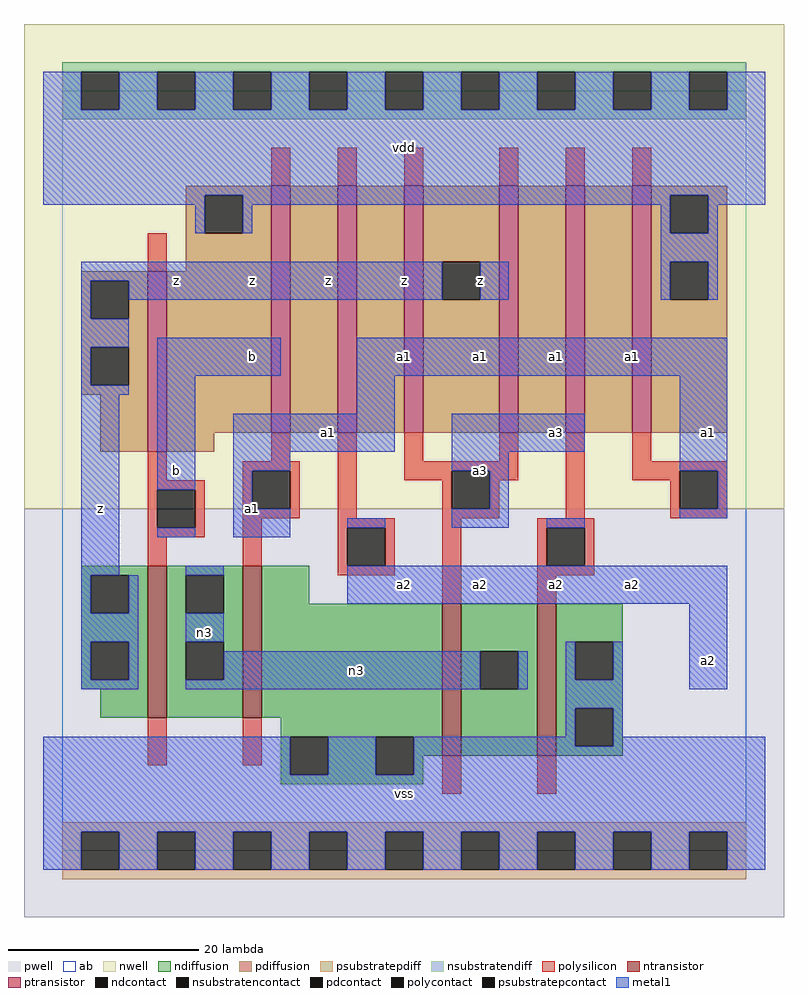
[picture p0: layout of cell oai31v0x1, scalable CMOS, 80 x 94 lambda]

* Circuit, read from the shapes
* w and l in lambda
.subckt oai31v0x1 a1 a2 a3 b n3 vdd vss z
M1 n3 b z vss nfet w=16 l=2
M2 vss a1 n3 vss nfet w=16 l=2
M3 n3 a3 vss vss nfet w=16 l=2
M4 vss a2 n3 vss nfet w=16 l=2
M5 vdd b z vdd pfet w=19 l=2
M6 n1 a1 vdd vdd pfet w=26 l=2
M7 n2 a2 n1 vdd pfet w=26 l=2
M8 z a3 n2 vdd pfet w=26 l=2
M9 n4 a3 z vdd pfet w=26 l=2
M10 n5 a2 n4 vdd pfet w=26 l=2
M11 vdd a1 n5 vdd pfet w=26 l=2
.ends

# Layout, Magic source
magic
tech scmos
<< ab >>
rect 0 0 72 80
<< pwell >>
rect -4 -7 76 36
<< nwell >>
rect -4 36 76 87
<< polysilicon >>
rect 22 70 24 74
rect 29 70 31 74
rect 36 70 38 74
rect 46 70 48 74
rect 53 70 55 74
rect 60 70 62 74
rect 9 61 11 65
rect 9 39 11 42
rect 22 41 24 44
rect 19 40 25 41
rect 9 38 15 39
rect 9 34 10 38
rect 14 34 15 38
rect 9 33 15 34
rect 19 36 20 40
rect 24 36 25 40
rect 19 35 25 36
rect 29 35 31 44
rect 36 41 38 44
rect 46 41 48 44
rect 36 40 48 41
rect 36 39 41 40
rect 40 36 41 39
rect 45 39 48 40
rect 45 36 46 39
rect 40 35 46 36
rect 53 35 55 44
rect 60 41 62 44
rect 60 40 70 41
rect 60 39 65 40
rect 64 36 65 39
rect 69 36 70 40
rect 64 35 70 36
rect 9 30 11 33
rect 19 30 21 35
rect 29 34 35 35
rect 29 30 30 34
rect 34 30 35 34
rect 29 29 35 30
rect 40 26 42 35
rect 50 34 56 35
rect 50 30 51 34
rect 55 30 56 34
rect 50 29 56 30
rect 50 26 52 29
rect 9 9 11 14
rect 19 9 21 14
rect 40 6 42 10
rect 50 6 52 10
<< ndiffusion >>
rect 2 29 9 30
rect 2 25 3 29
rect 7 25 9 29
rect 2 22 9 25
rect 2 18 3 22
rect 7 18 9 22
rect 2 17 9 18
rect 4 14 9 17
rect 11 29 19 30
rect 11 25 13 29
rect 17 25 19 29
rect 11 22 19 25
rect 11 18 13 22
rect 17 18 19 22
rect 11 14 19 18
rect 21 26 26 30
rect 21 14 40 26
rect 23 12 40 14
rect 23 8 24 12
rect 28 8 33 12
rect 37 10 40 12
rect 42 21 50 26
rect 42 17 44 21
rect 48 17 50 21
rect 42 10 50 17
rect 52 22 59 26
rect 52 18 54 22
rect 58 18 59 22
rect 52 15 59 18
rect 52 11 54 15
rect 58 11 59 15
rect 52 10 59 11
rect 37 8 38 10
rect 23 7 38 8
<< pdiffusion >>
rect 13 69 22 70
rect 13 65 15 69
rect 19 65 22 69
rect 13 61 22 65
rect 2 60 9 61
rect 2 56 3 60
rect 7 56 9 60
rect 2 53 9 56
rect 2 49 3 53
rect 7 49 9 53
rect 2 48 9 49
rect 4 42 9 48
rect 11 44 22 61
rect 24 44 29 70
rect 31 44 36 70
rect 38 62 46 70
rect 38 58 40 62
rect 44 58 46 62
rect 38 44 46 58
rect 48 44 53 70
rect 55 44 60 70
rect 62 69 70 70
rect 62 65 64 69
rect 68 65 70 69
rect 62 62 70 65
rect 62 58 64 62
rect 68 58 70 62
rect 62 44 70 58
rect 11 42 16 44
<< metal1 >>
rect -2 78 2 82
rect 6 78 10 82
rect 14 78 18 82
rect 22 78 26 82
rect 30 78 34 82
rect 38 78 42 82
rect 46 78 50 82
rect 54 78 58 82
rect 62 78 66 82
rect 70 78 74 82
rect -2 69 74 78
rect -2 68 15 69
rect 14 65 15 68
rect 19 68 64 69
rect 19 65 20 68
rect 63 65 64 68
rect 68 68 74 69
rect 68 65 69 68
rect 63 62 69 65
rect 2 60 40 62
rect 2 56 3 60
rect 7 58 40 60
rect 44 58 47 62
rect 63 58 64 62
rect 68 58 69 62
rect 2 53 7 56
rect 2 49 3 53
rect 2 48 7 49
rect 10 50 23 54
rect 31 50 70 54
rect 2 29 6 48
rect 10 38 14 50
rect 31 46 35 50
rect 10 33 14 34
rect 18 42 35 46
rect 41 42 55 46
rect 18 40 24 42
rect 18 36 20 40
rect 18 33 24 36
rect 41 40 47 42
rect 45 36 47 40
rect 30 34 34 35
rect 41 34 47 36
rect 65 40 70 50
rect 69 36 70 40
rect 65 35 70 36
rect 51 34 55 35
rect 13 29 17 30
rect 2 25 3 29
rect 7 25 8 29
rect 2 22 8 25
rect 2 18 3 22
rect 7 18 8 22
rect 2 17 8 18
rect 30 26 70 30
rect 13 22 17 25
rect 17 18 44 21
rect 13 17 44 18
rect 48 17 49 21
rect 53 18 54 22
rect 58 18 59 22
rect 53 15 59 18
rect 66 17 70 26
rect 53 12 54 15
rect -2 8 24 12
rect 28 8 33 12
rect 37 11 54 12
rect 58 12 59 15
rect 58 11 74 12
rect 37 8 74 11
rect -2 2 74 8
rect -2 -2 2 2
rect 6 -2 10 2
rect 14 -2 18 2
rect 22 -2 26 2
rect 30 -2 34 2
rect 38 -2 42 2
rect 46 -2 50 2
rect 54 -2 58 2
rect 62 -2 66 2
rect 70 -2 74 2
<< ntransistor >>
rect 9 14 11 30
rect 19 14 21 30
rect 40 10 42 26
rect 50 10 52 26
<< ptransistor >>
rect 9 42 11 61
rect 22 44 24 70
rect 29 44 31 70
rect 36 44 38 70
rect 46 44 48 70
rect 53 44 55 70
rect 60 44 62 70
<< polycontact >>
rect 10 34 14 38
rect 20 36 24 40
rect 41 36 45 40
rect 65 36 69 40
rect 30 30 34 34
rect 51 30 55 34
<< ndcontact >>
rect 3 25 7 29
rect 3 18 7 22
rect 13 25 17 29
rect 13 18 17 22
rect 24 8 28 12
rect 33 8 37 12
rect 44 17 48 21
rect 54 18 58 22
rect 54 11 58 15
<< pdcontact >>
rect 15 65 19 69
rect 3 56 7 60
rect 3 49 7 53
rect 40 58 44 62
rect 64 65 68 69
rect 64 58 68 62
<< psubstratepcontact >>
rect 2 -2 6 2
rect 10 -2 14 2
rect 18 -2 22 2
rect 26 -2 30 2
rect 34 -2 38 2
rect 42 -2 46 2
rect 50 -2 54 2
rect 58 -2 62 2
rect 66 -2 70 2
<< nsubstratencontact >>
rect 2 78 6 82
rect 10 78 14 82
rect 18 78 22 82
rect 26 78 30 82
rect 34 78 38 82
rect 42 78 46 82
rect 50 78 54 82
rect 58 78 62 82
rect 66 78 70 82
<< psubstratepdiff >>
rect 0 2 72 3
rect 0 -2 2 2
rect 6 -2 10 2
rect 14 -2 18 2
rect 22 -2 26 2
rect 30 -2 34 2
rect 38 -2 42 2
rect 46 -2 50 2
rect 54 -2 58 2
rect 62 -2 66 2
rect 70 -2 72 2
rect 0 -3 72 -2
<< nsubstratendiff >>
rect 0 82 72 83
rect 0 78 2 82
rect 6 78 10 82
rect 14 78 18 82
rect 22 78 26 82
rect 30 78 34 82
rect 38 78 42 82
rect 46 78 50 82
rect 54 78 58 82
rect 62 78 66 82
rect 70 78 72 82
rect 0 77 72 78
<< labels >>
rlabel metal1 4 36 4 36 6 z
rlabel metal1 15 23 15 23 6 n3
rlabel metal1 12 40 12 40 6 b
rlabel metal1 20 36 20 36 6 a1
rlabel metal1 20 52 20 52 6 b
rlabel metal1 12 60 12 60 6 z
rlabel metal1 20 60 20 60 6 z
rlabel metal1 36 6 36 6 6 vss
rlabel metal1 36 28 36 28 6 a2
rlabel metal1 28 44 28 44 6 a1
rlabel metal1 36 52 36 52 6 a1
rlabel metal1 28 60 28 60 6 z
rlabel metal1 36 60 36 60 6 z
rlabel metal1 36 74 36 74 6 vdd
rlabel metal1 44 28 44 28 6 a2
rlabel metal1 31 19 31 19 6 n3
rlabel metal1 52 28 52 28 6 a2
rlabel metal1 44 40 44 40 6 a3
rlabel metal1 52 44 52 44 6 a3
rlabel metal1 52 52 52 52 6 a1
rlabel metal1 44 52 44 52 6 a1
rlabel metal1 44 60 44 60 6 z
rlabel metal1 60 28 60 28 6 a2
rlabel metal1 68 20 68 20 6 a2
rlabel metal1 68 44 68 44 6 a1
rlabel metal1 60 52 60 52 6 a1
<< end >>
